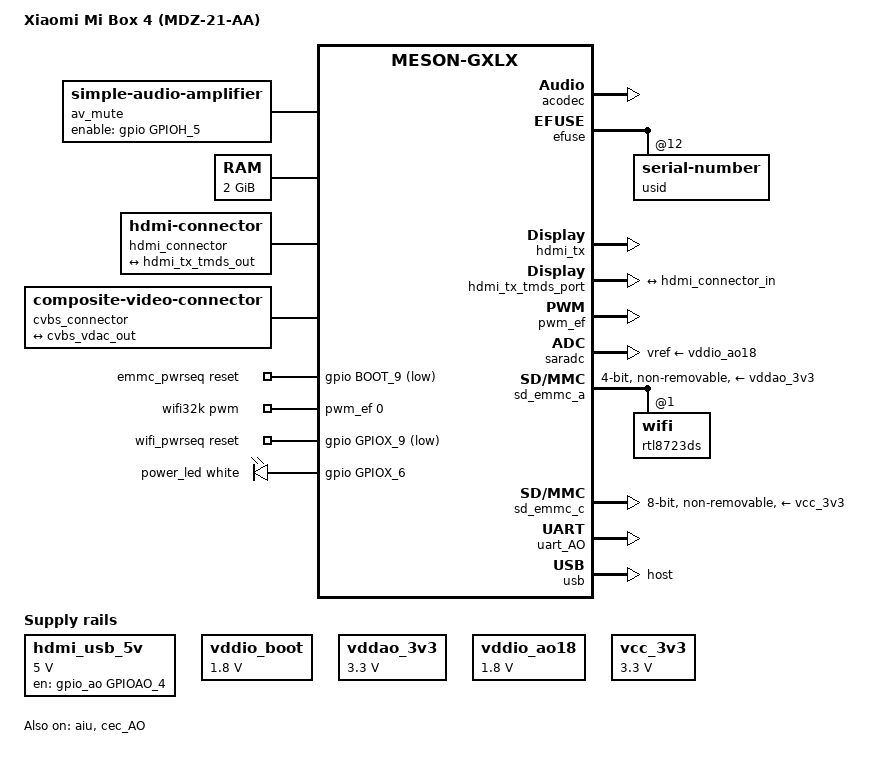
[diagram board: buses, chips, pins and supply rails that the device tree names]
// SPDX-License-Identifier: (GPL-2.0+ OR MIT)
// Copyright (c) 2026 YuChia-Kan <mail@raspberrykan.dev>

/dts-v1/;

#include "meson-gxl-s905x.dtsi"

#include <dt-bindings/leds/common.h>
#include <dt-bindings/sound/meson-aiu.h>

/ {
	compatible = "xiaomi,mibox4", "amlogic,s905l", "amlogic,meson-gxlx";
	model = "Xiaomi Mi Box 4 (MDZ-21-AA)";

	aliases {
		serial0 = &uart_AO;
		mmc0 = &sd_emmc_c;
		mmc1 = &sd_emmc_a;
		/delete-property/ mmc2;
	};

	chosen {
		stdout-path = "serial0:115200n8";
	};

	av_mute: analog-audio-mute {
		compatible = "simple-audio-amplifier";
		sound-name-prefix = "AV";
		enable-gpios = <&gpio GPIOH_5 GPIO_ACTIVE_HIGH>;
	};

	memory@0 {
		device_type = "memory";
		reg = <0x0 0x0 0x0 0x80000000>;
	};

	hdmi_connector: hdmi-connector {
		compatible = "hdmi-connector";
		type = "a";

		port {
			hdmi_connector_in: endpoint {
				remote-endpoint = <&hdmi_tx_tmds_out>;
			};
		};
	};

	cvbs_connector: cvbs-connector {
		compatible = "composite-video-connector";

		port {
			cvbs_connector_in: endpoint {
				remote-endpoint = <&cvbs_vdac_out>;
			};
		};
	};

	hdmi_usb_5v: regulator-hdmi-usb-5v {
		compatible = "regulator-fixed";
		regulator-name = "HDMI_USB_5V";
		regulator-min-microvolt = <5000000>;
		regulator-max-microvolt = <5000000>;
		gpio = <&gpio_ao GPIOAO_4 GPIO_ACTIVE_HIGH>;
		enable-active-high;
		regulator-boot-on;
		regulator-always-on;
	};

	vddio_boot: regulator-vddio-boot {
		compatible = "regulator-fixed";
		regulator-name = "VDDIO_BOOT";
		regulator-min-microvolt = <1800000>;
		regulator-max-microvolt = <1800000>;
	};

	vddao_3v3: regulator-vddao-3v3 {
		compatible = "regulator-fixed";
		regulator-name = "VDDAO_3V3";
		regulator-min-microvolt = <3300000>;
		regulator-max-microvolt = <3300000>;
	};

	vddio_ao18: regulator-vddio-ao18 {
		compatible = "regulator-fixed";
		regulator-name = "VDDIO_AO18";
		regulator-min-microvolt = <1800000>;
		regulator-max-microvolt = <1800000>;
	};

	vcc_3v3: regulator-vcc-3v3 {
		compatible = "regulator-fixed";
		regulator-name = "VCC_3V3";
		regulator-min-microvolt = <3300000>;
		regulator-max-microvolt = <3300000>;
	};

	emmc_pwrseq: emmc-pwrseq {
		compatible = "mmc-pwrseq-emmc";
		reset-gpios = <&gpio BOOT_9 GPIO_ACTIVE_LOW>;
	};

	wifi32k: wifi32k {
		compatible = "pwm-clock";
		#clock-cells = <0>;
		clock-frequency = <32768>;
		pwms = <&pwm_ef 0 30518 0>;
	};

	wifi_pwrseq: wifi-pwrseq {
		compatible = "mmc-pwrseq-simple";
		reset-gpios = <&gpio GPIOX_9 GPIO_ACTIVE_LOW>;
		clocks = <&wifi32k>;
		clock-names = "ext_clock";
		post-power-on-delay-ms = <200>;
	};

	leds: leds {
		compatible = "gpio-leds";

		power_led: power-led {
			color = <LED_COLOR_ID_WHITE>;
			function = LED_FUNCTION_POWER;
			gpios = <&gpio GPIOX_6 GPIO_ACTIVE_HIGH>;
			default-state = "on";
		};
	};

	sound {
		compatible = "amlogic,gx-sound-card";
		model = "Xiaomi-Mi-Box-4";
		audio-aux-devs = <&av_mute>;
		audio-widgets = "Line", "Lineout";
		audio-routing = "AV INL", "ACODEC LOLN",
				"AV INR", "ACODEC LORN",
				"Lineout", "AV OUTL",
				"Lineout", "AV OUTR";

		clocks = <&clkc CLKID_MPLL0>,
			 <&clkc CLKID_MPLL1>,
			 <&clkc CLKID_MPLL2>;
		assigned-clocks = <&clkc CLKID_MPLL0>,
				  <&clkc CLKID_MPLL1>,
				  <&clkc CLKID_MPLL2>;
		assigned-clock-rates = <294912000>, <270950400>, <393216000>;

		dai-link-0 {
			sound-dai = <&aiu AIU_CPU CPU_I2S_FIFO>;
		};

		dai-link-1 {
			sound-dai = <&aiu AIU_CPU CPU_I2S_ENCODER>;
			dai-format = "i2s";
			mclk-fs = <256>;

			codec-0 {
				sound-dai = <&aiu AIU_HDMI CTRL_I2S>;
			};

			codec-1 {
				sound-dai = <&aiu AIU_ACODEC CTRL_I2S>;
			};
		};

		dai-link-2 {
			sound-dai = <&aiu AIU_HDMI CTRL_OUT>;

			codec-0 {
				sound-dai = <&hdmi_tx>;
			};
		};

		dai-link-3 {
			sound-dai = <&aiu AIU_ACODEC CTRL_OUT>;

			codec-0 {
				sound-dai = <&acodec>;
			};
		};
	};
};

&acodec {
	AVDD-supply = <&vddio_ao18>;
	status = "okay";
};

&aiu {
	status = "okay";
};

&cec_AO {
	status = "okay";
	pinctrl-0 = <&ao_cec_pins>;
	pinctrl-names = "default";
	hdmi-phandle = <&hdmi_tx>;
};

&cvbs_vdac_port {
	cvbs_vdac_out: endpoint {
		remote-endpoint = <&cvbs_connector_in>;
	};
};

/*
 * The Mi Box 4 uses a custom efuse layout extracted from the
 * original firmware.
 */

/delete-node/ &eth_mac;
/delete-node/ &sn;
/delete-node/ &bid;

&efuse {
	eth_mac: mac-address@0 {
		reg = <0x00 0x06>;
	};

	bt_mac: mac-address@6 {
		reg = <0x06 0x06>;
	};

	wifi_mac: mac-address@c {
		reg = <0x0c 0x06>;
	};

	usid: serial-number@12 {
		reg = <0x12 0x10>;
	};
};

&ethmac {
	status = "disabled";
};

&hdmi_tx {
	status = "okay";
	pinctrl-0 = <&hdmi_hpd_pins>, <&hdmi_i2c_pins>;
	pinctrl-names = "default";
	hdmi-supply = <&hdmi_usb_5v>;
};

&hdmi_tx_tmds_port {
	hdmi_tx_tmds_out: endpoint {
		remote-endpoint = <&hdmi_connector_in>;
	};
};

&pwm_ef {
	status = "okay";
	pinctrl-0 = <&pwm_e_pins>;
	pinctrl-names = "default";
};

&saradc {
	compatible = "amlogic,meson-gxlx-saradc", "amlogic,meson-saradc";
	status = "okay";
	vref-supply = <&vddio_ao18>;
};

&sd_emmc_a {
	status = "okay";
	pinctrl-0 = <&sdio_pins>;
	pinctrl-1 = <&sdio_clk_gate_pins>;
	pinctrl-names = "default", "clk-gate";
	#address-cells = <1>;
	#size-cells = <0>;
	bus-width = <4>;
	cap-sd-highspeed;
	cap-sdio-irq;
	max-frequency = <50000000>;
	non-removable;
	no-mmc;
	no-sd;
	disable-wp;
	keep-power-in-suspend;
	sd-uhs-sdr12;
	sd-uhs-sdr25;
	sd-uhs-sdr50;
	sd-uhs-sdr104;
	mmc-pwrseq = <&wifi_pwrseq>;
	vmmc-supply = <&vddao_3v3>;
	vqmmc-supply = <&vddio_boot>;

	rtl8723ds: wifi@1 {
		reg = <1>;
		nvmem-cells = <&wifi_mac>;
		nvmem-cell-names = "mac-address";
		interrupt-parent = <&gpio_intc>;
		interrupts = <GPIOX_7 IRQ_TYPE_LEVEL_HIGH>;
		interrupt-names = "host-wake";
	};
};

&sd_emmc_b {
	status = "disabled";
};

&sd_emmc_c {
	status = "okay";
	pinctrl-0 = <&emmc_pins>, <&emmc_ds_pins>;
	pinctrl-1 = <&emmc_clk_gate_pins>;
	pinctrl-names = "default", "clk-gate";
	bus-width = <8>;
	cap-mmc-highspeed;
	max-frequency = <100000000>;
	non-removable;
	disable-wp;
	mmc-ddr-1_8v;
	mmc-hs200-1_8v;
	mmc-hs400-1_8v;
	mmc-pwrseq = <&emmc_pwrseq>;
	vmmc-supply = <&vcc_3v3>;
	vqmmc-supply = <&vddio_boot>;
};

&uart_AO {
	status = "okay";
	pinctrl-0 = <&uart_ao_a_pins>;
	pinctrl-names = "default";
};

&usb {
	status = "okay";
	dr_mode = "host";
};

&usb2_phy0 {
	phy-supply = <&hdmi_usb_5v>;
};

&vdec {
	compatible = "amlogic,gxlx-vdec", "amlogic,gx-vdec";
};
